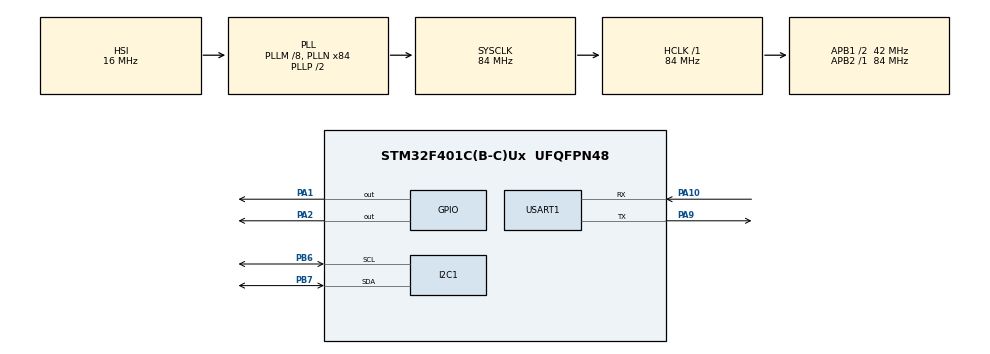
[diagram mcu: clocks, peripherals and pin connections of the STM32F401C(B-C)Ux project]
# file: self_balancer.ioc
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Mcu.Family=STM32F4
Mcu.Name=STM32F401C(B-C)Ux
Mcu.Package=UFQFPN48
NVIC.PriorityGroup=NVIC_PRIORITYGROUP_4
PA1.Signal=GPIO_Output
PA10.Mode=Asynchronous
PA10.Signal=USART1_RX
PA2.Signal=GPIO_Output
PA9.Mode=Asynchronous
PA9.Signal=USART1_TX
PB6.Mode=I2C
PB6.Signal=I2C1_SCL
PB7.Mode=I2C
PB7.Signal=I2C1_SDA
PH0\ -\ OSC_IN.Mode=HSE-External-Oscillator
PH0\ -\ OSC_IN.Signal=RCC_OSC_IN
PH1\ -\ OSC_OUT.Mode=HSE-External-Oscillator
PH1\ -\ OSC_OUT.Signal=RCC_OSC_OUT
ProjectManager.HeapSize=0x200
ProjectManager.StackSize=0x400
ProjectManager.TargetToolchain=MDK-ARM V5.32
RCC.48MHZClocksFreq_Value=42000000
RCC.AHBFreq_Value=84000000
RCC.APB1CLKDivider=RCC_HCLK_DIV2
RCC.APB1Freq_Value=42000000
RCC.APB1TimFreq_Value=84000000
RCC.APB2Freq_Value=84000000
RCC.APB2TimFreq_Value=84000000
RCC.CortexFreq_Value=84000000
RCC.HCLKFreq_Value=84000000
RCC.HSE_VALUE=25000000
RCC.HSI_VALUE=16000000
RCC.LSE_VALUE=32768
RCC.PLLM=8
RCC.PLLN=84
RCC.SYSCLKFreq_VALUE=84000000
RCC.SYSCLKSource=RCC_SYSCLKSOURCE_PLLCLK
RCC.VCOOutputFreq_Value=168000000
USART1.VirtualMode=VM_ASYNC
board=custom

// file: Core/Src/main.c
/* USER CODE BEGIN Header */
/**
  ******************************************************************************
  * @file           : main.c
  * @brief          : Main program body
  ******************************************************************************
  * @attention
  *
  * <h2><center>&copy; Copyright (c) 2021 STMicroelectronics.
  * All rights reserved.</center></h2>
  *
  * This software component is licensed by ST under BSD 3-Clause license,
  * the "License"; You may not use this file except in compliance with the
  * License. You may obtain a copy of the License at:
  *                        opensource.org/licenses/BSD-3-Clause
  *
  ******************************************************************************
  */
/* USER CODE END Header */
#include "main.h"
#include "i2c.h"
#include "usart.h"
#include "gpio.h"

/* USER CODE BEGIN Includes */
#include <math.h>
#include "mpu6050.h"
#include "uart_print.h"
#include "mpu6050_i2c.h"
/* USER CODE END Includes */

/* USER CODE BEGIN PD */
#define RADIAN_TO_DEG 57.2957795130823208
 MPU6050_t MPU9250;
 Kalman_t Kalman;
 Kalman_t KalmanX = {
    .Q_angle = 2.002f,
    .Q_bias = 2.002f,
    .R_measure = 0.003f};

Kalman_t KalmanY = {
    .Q_angle = 2.002f,
    .Q_bias = 2.002f,
    .R_measure = 0.003f,
};
/* USER CODE END PD */

void SystemClock_Config(void);

int main(void)
{

  /* MCU Configuration--------------------------------------------------------*/

  /* Reset of all peripherals, Initializes the Flash interface and the Systick. */
  HAL_Init();

  /* Configure the system clock */
  SystemClock_Config();

  /* Initialize all configured peripherals */
  MX_GPIO_Init();
  MX_I2C1_Init();
  MX_USART1_UART_Init();
  /* USER CODE BEGIN 2 */
	float pitch;
	float roll;
	float mag;
	gyroraw graw;
	gyrodps gdps;
	gyroavg gavg = {0,0,0};
	accelraw araw;
	accelg ag;
	accelavg aavg= {0,0,0};

	gyroinit(&huart1,&hi2c1,LPF_BEST,DPS_1000);
	accelinit(&huart1,&hi2c1,ACCEL_LPF_FAIR,ACCEL_4G);

	gyro_avg(&hi2c1,&gavg);
	accel_avg(&hi2c1, &aavg);

	//mpu_print(&huart1,&hi2c1,0x1B);
	float dt;
	float timer;
	float current_t;
  /* USER CODE END 2 */

  /* Infinite loop */
  /* USER CODE BEGIN WHILE */
  while (1)
  {
		current_t = (float)HAL_GetTick();
		dt = (current_t - timer) / 1000;
    timer = current_t;

		get_accelraw(&hi2c1,&araw);
		araw.x-=aavg.x;
		araw.y-=aavg.y;
		araw.z-=aavg.z-8192;
		to_g(&araw,&ag);
		get_gyroraw(&hi2c1,&graw);
		graw.x-=gavg.x;
		graw.y-=gavg.y;
		graw.z-=gavg.z;
		to_dps(&hi2c1,&graw,&gdps,1);

		roll = atan2(ag.y , sqrt(ag.x * ag.x + ag.z * ag.z)) * RADIAN_TO_DEG;
		pitch = atan2((- ag.x) , sqrt(ag.y * ag.y + ag.z * ag.z)) * RADIAN_TO_DEG;

		MPU9250.KalmanAngleY = Kalman_getAngle(&KalmanY, pitch, gdps.y, dt);
		MPU9250.KalmanAngleX = Kalman_getAngle(&KalmanX, roll, gdps.x, dt);
		HAL_Delay(200);
		//print_float(&huart1,&dt);
		//print_str(&huart1,",");
		print_float(&huart1,&MPU9250.KalmanAngleX);
		print_str(&huart1,",");
		print_float(&huart1,&MPU9250.KalmanAngleY);
		lineend(&huart1,WINDOWS);
		//Motor Control
		/*
		HAL_GPIO_WritePin(GPIOA,GPIO_PIN_1,GPIO_PIN_SET);
		HAL_GPIO_WritePin(GPIOA,GPIO_PIN_2,GPIO_PIN_RESET);
		HAL_Delay(1000);
		HAL_GPIO_WritePin(GPIOA,GPIO_PIN_1,GPIO_PIN_RESET);
		HAL_GPIO_WritePin(GPIOA,GPIO_PIN_2,GPIO_PIN_SET);
		HAL_Delay(1000);*/
    /* USER CODE END WHILE */

  }
}

void SystemClock_Config(void)
{
  RCC_OscInitTypeDef RCC_OscInitStruct = {0};
  RCC_ClkInitTypeDef RCC_ClkInitStruct = {0};

  /** Configure the main internal regulator output voltage
  */
  __HAL_RCC_PWR_CLK_ENABLE();
  __HAL_PWR_VOLTAGESCALING_CONFIG(PWR_REGULATOR_VOLTAGE_SCALE2);
  /** Initializes the RCC Oscillators according to the specified parameters
  * in the RCC_OscInitTypeDef structure.
  */
  RCC_OscInitStruct.OscillatorType = RCC_OSCILLATORTYPE_HSI;
  RCC_OscInitStruct.HSIState = RCC_HSI_ON;
  RCC_OscInitStruct.HSICalibrationValue = RCC_HSICALIBRATION_DEFAULT;
  RCC_OscInitStruct.PLL.PLLState = RCC_PLL_ON;
  RCC_OscInitStruct.PLL.PLLSource = RCC_PLLSOURCE_HSI;
  RCC_OscInitStruct.PLL.PLLM = 8;
  RCC_OscInitStruct.PLL.PLLN = 84;
  RCC_OscInitStruct.PLL.PLLP = RCC_PLLP_DIV2;
  RCC_OscInitStruct.PLL.PLLQ = 4;
  if (HAL_RCC_OscConfig(&RCC_OscInitStruct) != HAL_OK)
  {
    Error_Handler();
  }
  /** Initializes the CPU, AHB and APB buses clocks
  */
  RCC_ClkInitStruct.ClockType = RCC_CLOCKTYPE_HCLK|RCC_CLOCKTYPE_SYSCLK
                              |RCC_CLOCKTYPE_PCLK1|RCC_CLOCKTYPE_PCLK2;
  RCC_ClkInitStruct.SYSCLKSource = RCC_SYSCLKSOURCE_PLLCLK;
  RCC_ClkInitStruct.AHBCLKDivider = RCC_SYSCLK_DIV1;
  RCC_ClkInitStruct.APB1CLKDivider = RCC_HCLK_DIV2;
  RCC_ClkInitStruct.APB2CLKDivider = RCC_HCLK_DIV1;

  if (HAL_RCC_ClockConfig(&RCC_ClkInitStruct, FLASH_LATENCY_2) != HAL_OK)
  {
    Error_Handler();
  }
}

void Error_Handler(void)
{
  __disable_irq();
  while (1)
  {
  }
}

/************************ (C) COPYRIGHT STMicroelectronics *****END OF FILE****/
